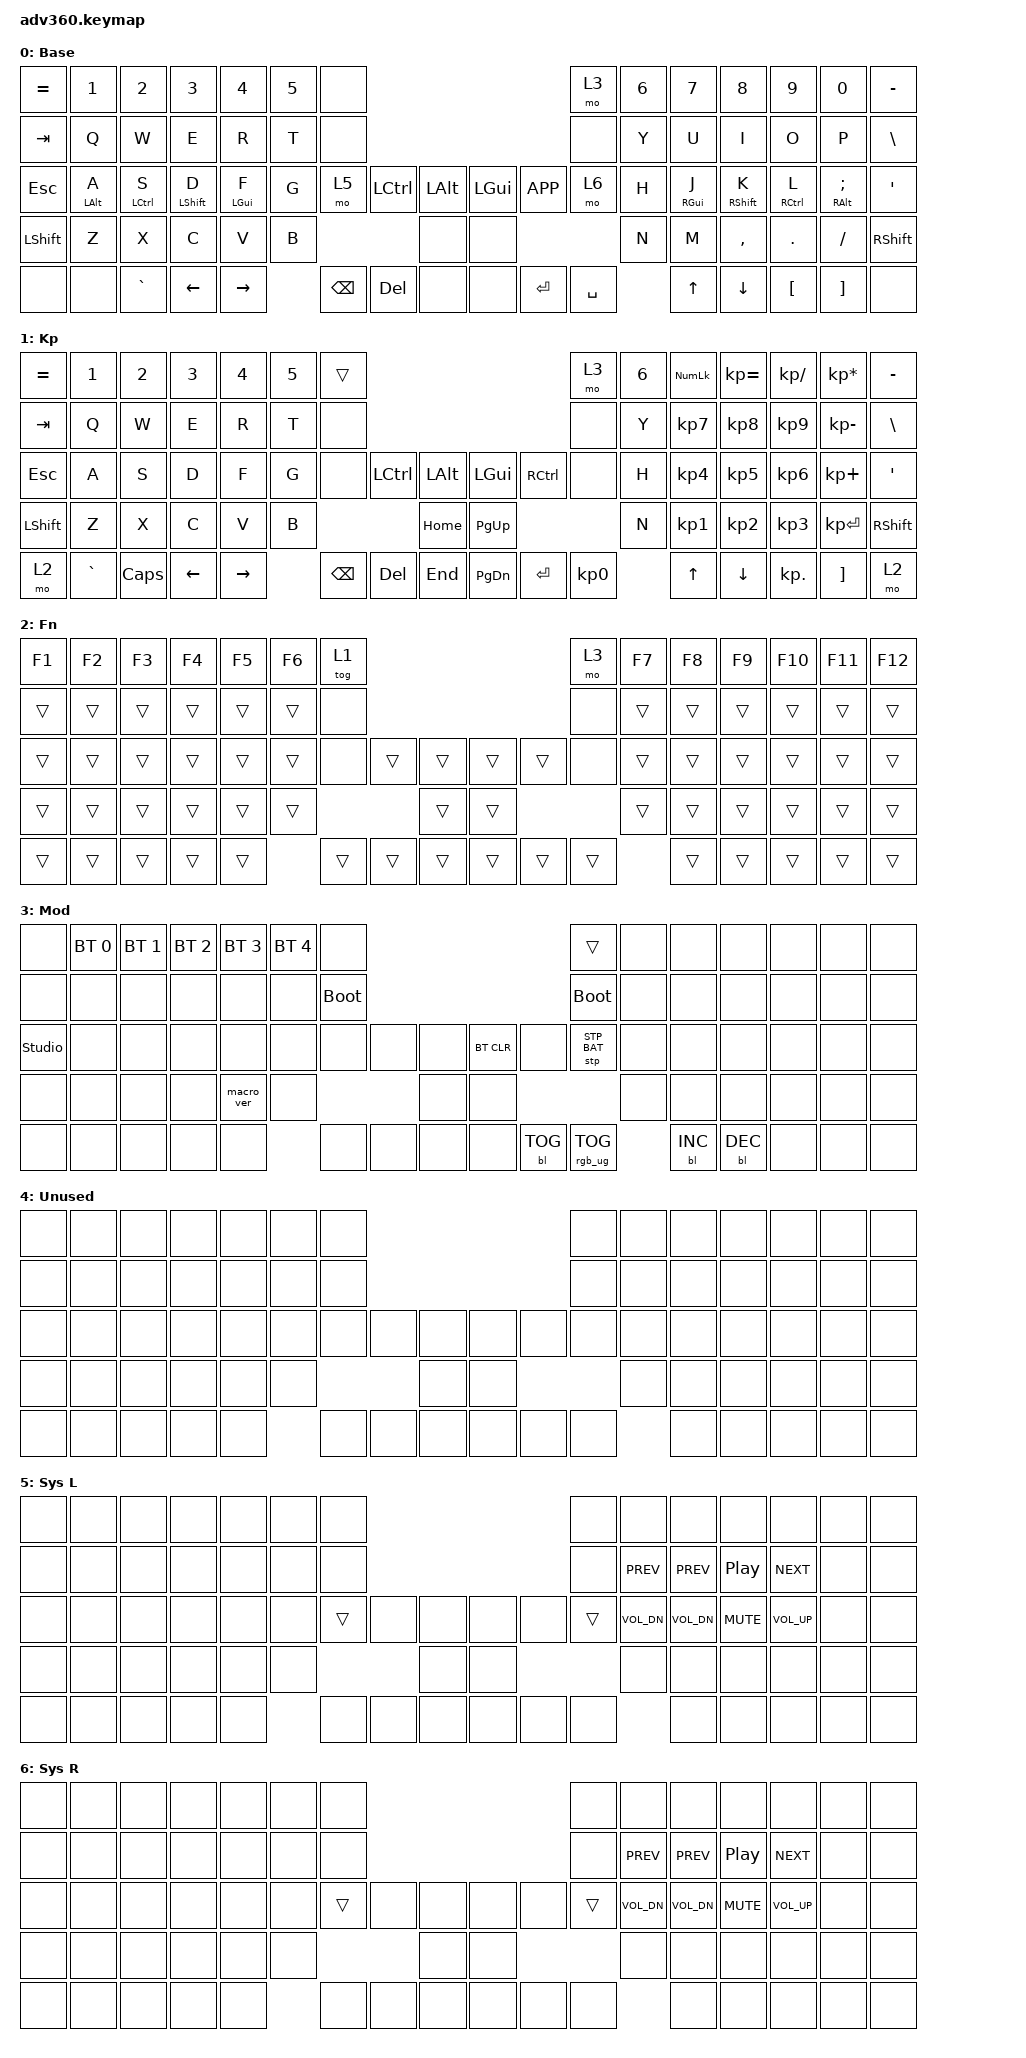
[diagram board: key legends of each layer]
#include <dt-bindings/zmk/stp.h>
#include <behaviors.dtsi>
#include <dt-bindings/zmk/backlight.h>
#include <dt-bindings/zmk/bt.h>
#include <dt-bindings/zmk/keys.h>
#include <dt-bindings/zmk/rgb.h>

/ {
    behaviors {
        #include "macros.dtsi"
      #include "version.dtsi"

        hm: homerow_mods {
            compatible = "zmk,behavior-hold-tap";
            label = "HOMEROW_MODS";
            #binding-cells = <2>;
            tapping-term-ms = <200>;
            quick_tap_ms = <175>;
            flavor = "tap-preferred";
            bindings = <&kp>, <&kp>;
        };
    };

    keymap {
        compatible = "zmk,keymap";

        default_layer {
            display-name = "Base";
            bindings = <
&kp EQUAL  &kp N1      &kp N2       &kp N3        &kp N4      &kp N5  &none                                                        &mo 3      &kp N6  &kp N7      &kp N8        &kp N9       &kp N0         &kp MINUS
&kp TAB    &kp Q       &kp W        &kp E         &kp R       &kp T   &none                                                        &none      &kp Y   &kp U       &kp I         &kp O        &kp P          &kp BSLH
&kp ESC    &hm LALT A  &hm LCTRL S  &hm LSHIFT D  &hm LGUI F  &kp G   &mo 5           &kp LCTRL  &kp LALT      &kp LGUI  &kp K_APP  &mo 6      &kp H   &hm RGUI J  &hm RSHIFT K  &hm RCTRL L  &hm RALT SEMI  &kp SQT
&kp LSHFT  &kp Z       &kp X        &kp C         &kp V       &kp B                             &none         &none                           &kp N   &kp M       &kp COMMA     &kp DOT      &kp FSLH       &kp RSHFT
&none      &none       &kp GRAVE    &kp LEFT      &kp RIGHT           &kp BACKSPACE  &kp DEL    &none         &none     &kp ENTER  &kp SPACE          &kp UP      &kp DOWN      &kp LBKT     &kp RBKT       &none
            >;
        };

        keypad {
            display-name = "Kp";
            bindings = <
&kp EQUAL  &kp N1     &kp N2    &kp N3    &kp N4     &kp N5  &trans                                                   &mo 3      &kp N6  &kp KP_NUM  &kp KP_EQUAL  &kp KP_DIVIDE  &kp KP_MULTIPLY  &kp MINUS
&kp TAB    &kp Q      &kp W     &kp E     &kp R      &kp T   &none                                                    &none      &kp Y   &kp KP_N7   &kp KP_N8     &kp KP_N9      &kp KP_MINUS     &kp BSLH
&kp ESC    &kp A      &kp S     &kp D     &kp F      &kp G   &none     &kp LCTRL  &kp LALT      &kp LGUI   &kp RCTRL  &none      &kp H   &kp KP_N4   &kp KP_N5     &kp KP_N6      &kp KP_PLUS      &kp SQT
&kp LSHFT  &kp Z      &kp X     &kp C     &kp V      &kp B                        &kp HOME      &kp PG_UP                        &kp N   &kp KP_N1   &kp KP_N2     &kp KP_N3      &kp KP_ENTER     &kp RSHFT
&mo 2      &kp GRAVE  &kp CAPS  &kp LEFT  &kp RIGHT          &kp BSPC  &kp DEL    &kp END       &kp PG_DN  &kp ENTER  &kp KP_N0          &kp UP      &kp DOWN      &kp KP_DOT     &kp RBKT         &mo 2
            >;
        };

        fn {
            display-name = "Fn";
            bindings = <
&kp F1  &kp F2  &kp F3  &kp F4  &kp F5  &kp F6  &tog 1                                      &mo 3   &kp F7  &kp F8  &kp F9  &kp F10  &kp F11  &kp F12
&trans  &trans  &trans  &trans  &trans  &trans  &none                                       &none   &trans  &trans  &trans  &trans   &trans   &trans
&trans  &trans  &trans  &trans  &trans  &trans  &none   &trans  &trans      &trans  &trans  &none   &trans  &trans  &trans  &trans   &trans   &trans
&trans  &trans  &trans  &trans  &trans  &trans                  &trans      &trans                  &trans  &trans  &trans  &trans   &trans   &trans
&trans  &trans  &trans  &trans  &trans          &trans  &trans  &trans      &trans  &trans  &trans          &trans  &trans  &trans   &trans   &trans
            >;
        };

        mod {
            display-name = "Mod";
            bindings = <
&none           &bt BT_SEL 0  &bt BT_SEL 1  &bt BT_SEL 2  &bt BT_SEL 3  &bt BT_SEL 4  &none                                                  &trans           &none  &none       &none       &none  &none  &none
&none           &none         &none         &none         &none         &none         &bootloader                                            &bootloader      &none  &none       &none       &none  &none  &none
&studio_unlock  &none         &none         &none         &none         &none         &none        &none  &none      &bt BT_CLR  &none       &stp STP_BAT     &none  &none       &none       &none  &none  &none
&none           &none         &none         &none         &macro_ver    &none                             &none      &none                                    &none  &none       &none       &none  &none  &none
&none           &none         &none         &none         &none                       &none        &none  &none      &none       &bl BL_TOG  &rgb_ug RGB_TOG         &bl BL_INC  &bl BL_DEC  &none  &none  &none
            >;
        };

        extra1 {
            // Legacy builds skip reserved nodes; keep this unused slot allocated.
            display-name = "Unused";
            bindings = <
&none  &none  &none  &none  &none  &none  &none                                                   &none      &none  &none  &none  &none  &none  &none
&none  &none  &none  &none  &none  &none  &none                                                   &none      &none  &none  &none  &none  &none  &none
&none  &none  &none  &none  &none  &none  &none   &none  &none      &none  &none  &none   &none  &none  &none  &none  &none  &none
&none  &none  &none  &none  &none  &none                  &none      &none                  &none  &none  &none  &none  &none  &none
&none  &none  &none  &none  &none          &none  &none  &none      &none  &none  &none          &none  &none  &none  &none  &none
            >;
        };

        // Separate layers keep Sys active until both activation keys are released.
        // Use the purple/cyan slots (5/6); keep the red slot (4) unused.
        // Keep both Sys binding lists identical, including the transparent activation keys.
        sys {
            display-name = "Sys L";
            bindings = <
&none  &none  &none  &none  &none  &none  &none                                                   &none      &none  &none      &none      &none  &none  &none
&none  &none  &none  &none  &none  &none  &none                                                   &none      &kp C_PREV  &kp C_PREV  &kp C_PP  &kp C_NEXT  &none  &none
&none  &none  &none  &none  &none  &none  &trans   &none  &none      &none  &none  &trans   &kp C_VOL_DN  &kp C_VOL_DN  &kp C_MUTE  &kp C_VOL_UP  &none  &none
&none  &none  &none  &none  &none  &none                  &none      &none                  &none  &none  &none  &none  &none  &none
&none  &none  &none  &none  &none          &none  &none  &none      &none  &none  &none          &none  &none  &none  &none  &none
            >;
        };

        sys_right {
            display-name = "Sys R";
            bindings = <
&none  &none  &none  &none  &none  &none  &none                                                   &none      &none  &none      &none      &none  &none  &none
&none  &none  &none  &none  &none  &none  &none                                                   &none      &kp C_PREV  &kp C_PREV  &kp C_PP  &kp C_NEXT  &none  &none
&none  &none  &none  &none  &none  &none  &trans   &none  &none      &none  &none  &trans   &kp C_VOL_DN  &kp C_VOL_DN  &kp C_MUTE  &kp C_VOL_UP  &none  &none
&none  &none  &none  &none  &none  &none                  &none      &none                  &none  &none  &none  &none  &none  &none
&none  &none  &none  &none  &none          &none  &none  &none      &none  &none  &none          &none  &none  &none  &none  &none
            >;
        };

        extra4 {
            display-name = "Yellow";
            status = "reserved";
        };
    };
};
